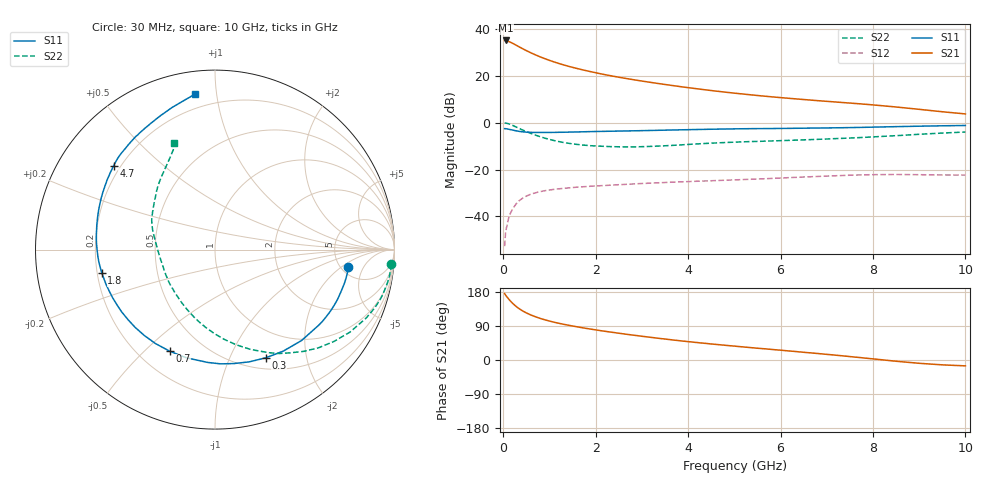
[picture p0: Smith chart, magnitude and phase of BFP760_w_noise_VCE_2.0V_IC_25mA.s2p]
! Infineon Technologies  Discrete & RF Semiconductors
! BFP760
! VCE =  2.0 V,  IC =  25 mA
! Common Emitter S-Parameters:  Nov 2012
# GHz  S  MA  R  50
!  f  S11  S21  S12  S22
! GHz  MAG  ANG  MAG  ANG  MAG  ANG  MAG  ANG
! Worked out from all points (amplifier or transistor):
!   99 points, 30 MHz to 10 GHz, reference 50 ohm
!   highest |S21| = 35.2 dB at 50 MHz (marker M1)
!   |S21| within 3 dB of that: start of sweep to 369.3 MHz
!   unconditionally stable (mu >= 1): 4.406 GHz to end of sweep
!   at 350 MHz: K = 0.24, MSG = 32.8 dB, |S12| = -33.3 dB
!   at 3.5 GHz: K = 0.90, MSG = 21.0 dB, |S12| = -25.5 dB
!   at 10 GHz: K = 1.09, MAG = 11.2 dB, |S12| = -22.4 dB
!   lowest NFmin = 0.68 dB at 900 MHz
!   S11 on the Smith chart (normalised r, x): 30 MHz: 5.80, -2.59; 300 MHz: 0.63, -1.37; 700 MHz: 0.33, -0.60; 1.8 GHz: 0.22, -0.10; 4.7 GHz: 0.17, +0.35; 10 GHz: 0.12, +0.87
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0.03  0.7496 -7.5  57.24 175.2  0.0023 92.9  0.985 -4.7
0.05  0.7471 -12.4  57.49 171.3  0.0044 84.3  0.9838 -8.1
0.1  0.7338 -24.5  55.52 163.5  0.0077 78.9  0.962 -16.6
0.15  0.7156 -35.9  53.03 156.3  0.0113 73.8  0.9244 -24.4
0.2  0.6994 -46.4  50.1 150.0  0.0142 68.0  0.8816 -31.4
0.3  0.6658 -64.9  44.39 139.3  0.0196 61.9  0.7948 -43.5
0.4  0.6436 -80.6  39.25 131.0  0.0237 55.7  0.7141 -53.6
0.5  0.6301 -93.6  34.86 124.3  0.027 50.8  0.6475 -62.5
0.6  0.6236 -104.7  31.23 118.7  0.0298 46.7  0.5911 -70.3
0.7  0.6197 -114.1  28.19 114.0  0.0319 43.5  0.5437 -77.4
0.9  0.6197 -129.5  23.46 106.1  0.0353 39.0  0.4691 -90.2
1.1  0.6223 -141.3  19.97 99.7  0.0377 35.6  0.4164 -101.4
1.4  0.6303 -154.8  16.24 92.0  0.0404 32.5  0.366 -115.7
1.7  0.6399 -165.3  13.66 85.4  0.0427 30.5  0.3348 -128.3
1.8  0.644 -168.4  12.96 83.3  0.0433 29.9  0.3293 -132.2
2.5  0.6643 174.4  9.419 70.7  0.0474 27.6  0.3061 -155.7
3.4  0.6914 157.7  6.8 56.7  0.0523 25.9  0.319 -179.6
4.7  0.7325 140.5  4.636 40.0  0.0586 23.9  0.3741 159.5
5.1  0.7426 137.0  4.198 35.5  0.0606 23.4  0.3883 155.2
6.7  0.7698 124.8  3.027 18.3  0.0705 20.1  0.4383 139.7
8.5  0.8263 107.0  2.174 -3.3  0.0784 10.2  0.5296 121.7
10  0.8747 97.4  1.545 -15.5  0.0762 6.1  0.6342 111.0
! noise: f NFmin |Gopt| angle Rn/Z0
0.9  0.68  0.13  -170  0.1
1.8  0.74  0.15  -159  0.07
2.4  0.78  0.16  -149  0.08
3.5  0.91  0.17  -140  0.09
5.5  1.12  0.26  -110  0.19
8  1.42  0.38  -78  0.37
